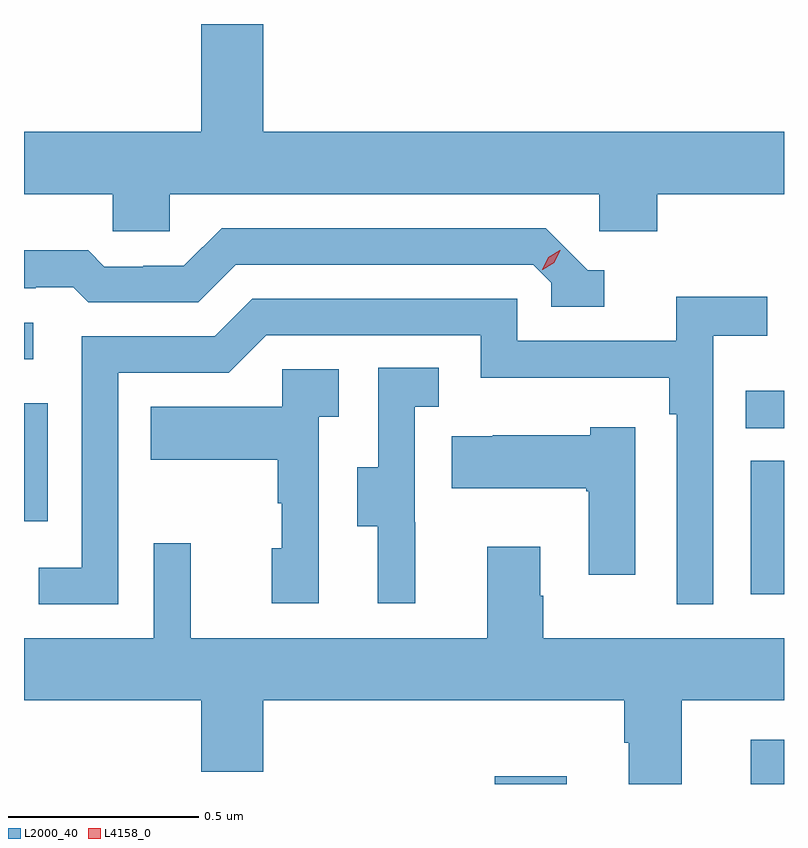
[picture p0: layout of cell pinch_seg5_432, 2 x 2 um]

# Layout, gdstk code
import gdstk
lib = gdstk.Library(unit=1e-6, precision=1e-09)
def R(c, l, rs):  # rectangles x0, y0, x1, y1
    for r in rs: c.add(gdstk.rectangle(r[:2], r[2:], *l))
def P(c, l, *ps):  # polygons
    for p in ps: c.add(gdstk.Polygon(p, *l))
L2000_40 = (2000, 40)
L4158_0 = (4158, 0)

pinch_seg5_432 = lib.new_cell('pinch_seg5_432')
R(pinch_seg5_432, L2000_40, [(956.989,856.54,957.178,856.561), (957.662,856.54,957.75,856.657), (957.662,857.04,957.75,857.391), (955.75,857.232,955.812,857.542), (957.649,857.476,957.75,857.575), (955.75,857.658,955.774,857.754)])
P(pinch_seg5_432, L2000_40, [(956.133,858.092),(957.264,858.092),(957.264,857.994),(957.416,857.994),(957.416,858.092),(957.75,858.092),(957.75,858.256),(956.38,858.256),(956.38,858.54),(956.216,858.54),(956.216,858.256),(955.75,858.256),(955.75,858.092),(955.983,858.092),(955.983,857.994),(956.133,857.994)],
  [(957.277,857.892),(957.234,857.892),(957.123,858.003),(956.27,858.003),(956.171,857.904),(956.064,857.904),(956.064,857.901),(955.961,857.901),(955.919,857.944),(955.75,857.944),(955.75,857.844),(955.781,857.844),(955.781,857.847),(955.88,857.847),(955.919,857.808),(956.208,857.808),(956.307,857.907),(957.09,857.907),(957.138,857.859),(957.138,857.796),(957.277,857.796)],
  [(955.998,857.622),(956.289,857.622),(956.388,857.721),(956.952,857.721),(956.952,857.609),(957.448,857.609),(957.448,857.513),(957.468,857.513),(957.468,857.013),(957.564,857.013),(957.564,857.72),(957.706,857.72),(957.706,857.822),(957.467,857.822),(957.467,857.706),(957.048,857.706),(957.048,857.817),(956.351,857.817),(956.252,857.718),(955.902,857.718),(955.902,857.109),(955.789,857.109),(955.789,857.013),(955.998,857.013)],
  [(956.78,857.229),(956.778,857.229),(956.778,857.533),(956.842,857.533),(956.842,857.636),(956.682,857.636),(956.682,857.373),(956.627,857.373),(956.627,857.218),(956.681,857.218),(956.681,857.016),(956.78,857.016)],
  [(956.526,857.507),(956.578,857.507),(956.578,857.631),(956.43,857.631),(956.43,857.533),(956.083,857.533),(956.083,857.393),(956.418,857.393),(956.418,857.279),(956.428,857.279),(956.428,857.16),(956.402,857.16),(956.402,857.016),(956.526,857.016)],
  [(957.358,857.479),(957.24,857.479),(957.24,857.458),(956.983,857.458),(956.983,857.455),(956.875,857.455),(956.875,857.318),(957.229,857.318),(957.229,857.311),(957.236,857.311),(957.236,857.091),(957.358,857.091)],
  [(957.481,856.76),(957.75,856.76),(957.75,856.924),(957.117,856.924),(957.117,857.036),(957.109,857.036),(957.109,857.164),(956.969,857.164),(956.969,856.924),(956.189,856.924),(956.189,857.173),(956.091,857.173),(956.091,856.924),(955.75,856.924),(955.75,856.76),(956.216,856.76),(956.216,856.572),(956.38,856.572),(956.38,856.76),(957.329,856.76),(957.329,856.648),(957.341,856.648),(957.341,856.54),(957.481,856.54)])
P(pinch_seg5_432, L4158_0, [(957.114,857.893),(957.114,857.893),(957.13,857.926),(957.16,857.945),(957.161,857.945),(957.161,857.945),(957.145,857.912),(957.115,857.893)])

lib.write_gds('pinch_seg5_432.gds')
